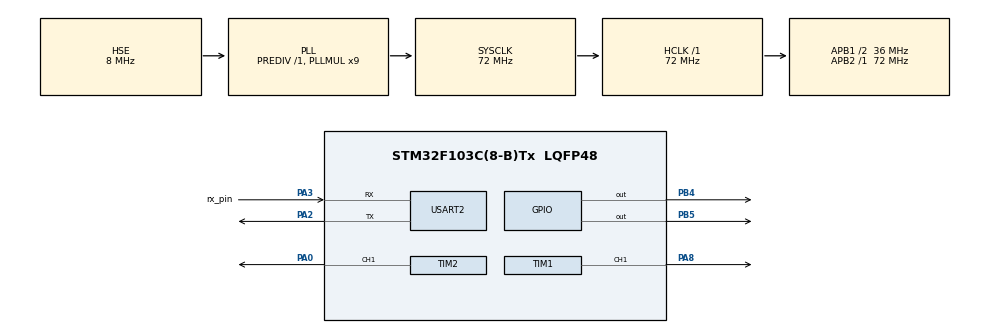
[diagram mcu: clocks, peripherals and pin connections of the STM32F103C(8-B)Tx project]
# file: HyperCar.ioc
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Mcu.Family=STM32F1
Mcu.Name=STM32F103C(8-B)Tx
Mcu.Package=LQFP48
NVIC.PriorityGroup=NVIC_PRIORITYGROUP_4
PA0-WKUP.Signal=S_TIM2_CH1_ETR
PA13.Mode=Serial_Wire
PA13.Signal=SYS_JTMS-SWDIO
PA14.Mode=Serial_Wire
PA14.Signal=SYS_JTCK-SWCLK
PA2.Mode=Asynchronous
PA2.Signal=USART2_TX
PA3.GPIO_Label=rx_pin
PA3.Mode=Asynchronous
PA3.Signal=USART2_RX
PA8.Signal=S_TIM1_CH1
PB4.Signal=GPIO_Output
PB5.Signal=GPIO_Output
PD0-OSC_IN.Mode=HSE-External-Oscillator
PD0-OSC_IN.Signal=RCC_OSC_IN
PD1-OSC_OUT.Mode=HSE-External-Oscillator
PD1-OSC_OUT.Signal=RCC_OSC_OUT
ProjectManager.HeapSize=0x200
ProjectManager.StackSize=0x400
ProjectManager.TargetToolchain=STM32CubeIDE
RCC.AHBFreq_Value=72000000
RCC.APB1CLKDivider=RCC_HCLK_DIV2
RCC.APB1Freq_Value=36000000
RCC.APB1TimFreq_Value=72000000
RCC.APB2Freq_Value=72000000
RCC.APB2TimFreq_Value=72000000
RCC.HCLKFreq_Value=72000000
RCC.PLLMUL=RCC_PLL_MUL9
RCC.PLLSourceVirtual=RCC_PLLSOURCE_HSE
RCC.SYSCLKFreq_VALUE=72000000
RCC.SYSCLKSource=RCC_SYSCLKSOURCE_PLLCLK
RCC.USBFreq_Value=72000000
SH.S_TIM1_CH1.0=TIM1_CH1,PWM Generation1 CH1
SH.S_TIM2_CH1_ETR.0=TIM2_CH1,PWM Generation1 CH1
TIM1.AutoReloadPreload=TIM_AUTORELOAD_PRELOAD_ENABLE
TIM1.Channel-PWM\ Generation1\ CH1=TIM_CHANNEL_1
TIM1.OCPolarity_1=TIM_OCPOLARITY_HIGH
TIM1.Period=1999
TIM1.Prescaler=719
TIM1.Pulse-PWM\ Generation1\ CH1=0
TIM2.Channel-PWM\ Generation1\ CH1=TIM_CHANNEL_1
TIM2.Period=1999
TIM2.Prescaler=719
USART2.VirtualMode=VM_ASYNC
VP_TIM1_VS_ClockSourceINT.Mode=Internal
VP_TIM2_VS_ClockSourceINT.Mode=Internal
board=custom

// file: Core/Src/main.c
/* USER CODE BEGIN Header */
/**
  ******************************************************************************
  * @file           : main.c
  * @brief          : Main program body
  ******************************************************************************
  * @attention
  *
  * Copyright (c) 2025 STMicroelectronics.
  * All rights reserved.
  *
  * This software is licensed under terms that can be found in the LICENSE file
  * in the root directory of this software component.
  * If no LICENSE file comes with this software, it is provided AS-IS.
  *
  ******************************************************************************
  */
/* USER CODE END Header */

#include "main.h"
#include "tim.h"
#include "usart.h"
#include "gpio.h"

/* USER CODE BEGIN Includes */
//#include "stdio.h"
#include "string.h"
#include "stdlib.h"
/* USER CODE END Includes */

void SystemClock_Config(void);

/* USER CODE BEGIN 0 */

struct action_data{
    int turn;
    int push;
};

struct action_data getAction()
{
    char tmpbuff[16];
    while(tmpbuff[0]!='\n')
        HAL_UART_Receive(&huart2,tmpbuff,1,HAL_MAX_DELAY);
    HAL_UART_Receive(&huart2,tmpbuff,6,HAL_MAX_DELAY);
    char part1[4], part2[4];
    strncpy(part1, tmpbuff, 3);
    strncpy(part2, tmpbuff + 3, 3);
    char *endptr;
    int num1 = strtol(part1,&endptr,10);
    int num2 = strtol(part2,&endptr,10);
    struct action_data tmp;
    tmp.push = num1;
    tmp.turn=num2;
    return tmp;
}

double to_turn(int angle)
{
    double mid_angle = 48.5;
    double max_angle = 64;//左向参数，越大角度越大
    double min_angle = 36.5;//右向参数，越小角度越大

    double in_angle = 100 -angle;
//    double in_angle = angle;

    if(in_angle==50){
        return (double )mid_angle;
    } else{
        if(in_angle>50)
        {
            double d_angle = (double )(in_angle-50);
            double x = (double )(max_angle-mid_angle) / (50);
            return mid_angle + (x * d_angle);
        }
        else {
            double d_angle = (double )(50-in_angle);
            double x = (double )(mid_angle-min_angle) / (50);
            return  mid_angle - (x * d_angle);
        }
    }
}

//void to_brake(){
//    //在这里实现brake的操作
//    }
//
//void to_back(){
//    }

double to_push(int power){
    double mid_push = 50;

    double in_power = power;
//    double in_power = 100 -power;

    if(in_power==mid_push)
        return 0;
    else{
        if(in_power>mid_push)
        {
            double d_power = in_power-50;
            double x = (double )(195) / (double )(50);
            return x * d_power;
        } else{
            return 0;
        }
    }
}

/* USER CODE END 0 */

int main(void)
{

  /* MCU Configuration--------------------------------------------------------*/

  /* Reset of all peripherals, Initializes the Flash interface and the Systick. */
  HAL_Init();

  /* Configure the system clock */
  SystemClock_Config();

  /* Initialize all configured peripherals */
  MX_GPIO_Init();
  MX_TIM1_Init();
  MX_USART2_UART_Init();
  MX_TIM2_Init();

  /* Infinite loop */
  /* USER CODE BEGIN WHILE */
    HAL_TIM_PWM_Start(&htim1,TIM_CHANNEL_1);
    HAL_TIM_PWM_Start(&htim2,TIM_CHANNEL_1);
    HAL_GPIO_WritePin(GPIOB,GPIO_PIN_4,GPIO_PIN_SET);
    HAL_GPIO_WritePin(GPIOB,GPIO_PIN_5,GPIO_PIN_RESET);
  while (1)
  {

      struct action_data act = getAction();
      __HAL_TIM_SET_COMPARE(&htim1,TIM_CHANNEL_1,49+2* to_turn(act.turn));
      __HAL_TIM_SET_COMPARE(&htim2,TIM_CHANNEL_1, to_push(act.push)+50);

    /* USER CODE END WHILE */

  }
}

void SystemClock_Config(void)
{
  RCC_OscInitTypeDef RCC_OscInitStruct = {0};
  RCC_ClkInitTypeDef RCC_ClkInitStruct = {0};

  /** Initializes the RCC Oscillators according to the specified parameters
  * in the RCC_OscInitTypeDef structure.
  */
  RCC_OscInitStruct.OscillatorType = RCC_OSCILLATORTYPE_HSE;
  RCC_OscInitStruct.HSEState = RCC_HSE_ON;
  RCC_OscInitStruct.HSEPredivValue = RCC_HSE_PREDIV_DIV1;
  RCC_OscInitStruct.HSIState = RCC_HSI_ON;
  RCC_OscInitStruct.PLL.PLLState = RCC_PLL_ON;
  RCC_OscInitStruct.PLL.PLLSource = RCC_PLLSOURCE_HSE;
  RCC_OscInitStruct.PLL.PLLMUL = RCC_PLL_MUL9;
  if (HAL_RCC_OscConfig(&RCC_OscInitStruct) != HAL_OK)
  {
    Error_Handler();
  }

  /** Initializes the CPU, AHB and APB buses clocks
  */
  RCC_ClkInitStruct.ClockType = RCC_CLOCKTYPE_HCLK|RCC_CLOCKTYPE_SYSCLK
                              |RCC_CLOCKTYPE_PCLK1|RCC_CLOCKTYPE_PCLK2;
  RCC_ClkInitStruct.SYSCLKSource = RCC_SYSCLKSOURCE_PLLCLK;
  RCC_ClkInitStruct.AHBCLKDivider = RCC_SYSCLK_DIV1;
  RCC_ClkInitStruct.APB1CLKDivider = RCC_HCLK_DIV2;
  RCC_ClkInitStruct.APB2CLKDivider = RCC_HCLK_DIV1;

  if (HAL_RCC_ClockConfig(&RCC_ClkInitStruct, FLASH_LATENCY_2) != HAL_OK)
  {
    Error_Handler();
  }
}

void Error_Handler(void)
{
  __disable_irq();
  while (1)
  {
  }
}
